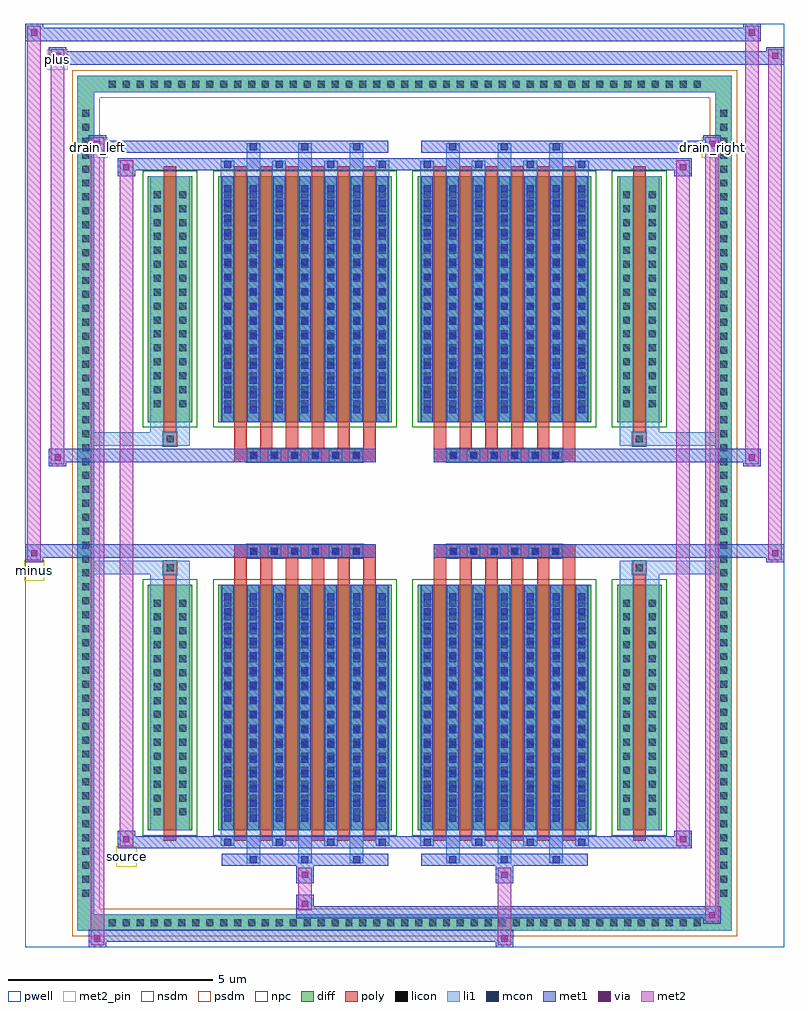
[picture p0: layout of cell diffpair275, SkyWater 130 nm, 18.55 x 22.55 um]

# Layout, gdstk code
import gdstk
lib = gdstk.Library(unit=1e-6, precision=5e-09)
def R(c, l, rs):  # rectangles x0, y0, x1, y1
    for r in rs: c.add(gdstk.rectangle(r[:2], r[2:], *l))
def A(c, l, x, y, w, h, nx, ny, dx, dy):  # array of equal rectangles
    R(c, l, [(x+i*dx, y+j*dy, x+i*dx+w, y+j*dy+h) for i in range(nx) for j in range(ny)])
def P(c, l, *ps):  # polygons
    for p in ps: c.add(gdstk.Polygon(p, *l))
pwell = (64, 44)
diff = (65, 20)
poly = (66, 20)
licon = (66, 44)
li1 = (67, 20)
mcon = (67, 44)
met1 = (68, 20)
via = (68, 44)
met2_pin = (69, 16)
met2 = (69, 20)
nsdm = (93, 44)
psdm = (94, 20)
npc = (95, 20)

diffpair275 = lib.new_cell('diffpair275')
R(diffpair275, pwell, [(-9.26,-10.84,9.26,11.71), (-6.58,-9.03,-0.01,-0.805), (0.01,-9.03,6.58,-0.805), (-6.58,0.805,-0.01,9.03), (0.01,0.805,6.58,9.03)])
A(diffpair275, diff, -7.345, -10.44, 0.41, 0.41, 43, 2, 0.34, 20.47)
A(diffpair275, diff, -7.99, -9.725, 0.41, 0.41, 1, 57, 0, 0.34)
A(diffpair275, diff, 7.58, -9.725, 0.41, 0.41, 1, 57, 0, 0.34)
R(diffpair275, diff, [(-7.345,-10.44,7.345,-10.03), (-7.99,-9.725,-7.58,9.725), (7.58,-9.725,7.99,9.725), (-6.27,-7.985,-5.19,-1.985), (-4.55,-7.985,-0.32,-1.985), (0.32,-7.985,4.55,-1.985), (5.19,-7.985,6.27,-1.985), (-6.27,1.985,-5.19,7.985), (-4.55,1.985,-0.32,7.985), (0.32,1.985,4.55,7.985), (5.19,1.985,6.27,7.985), (-7.345,10.03,7.345,10.44)])
P(diffpair275, diff, [(7.99,10.44),(-7.99,10.44),(-7.99,-10.03),(-7.58,-10.03),(-7.58,10.03),(7.58,10.03),(7.58,-10.03),(-7.58,-10.03),(-7.99,-10.03),(-7.99,-10.44),(7.99,-10.44)])
A(diffpair275, poly, -4.16, -8.235, 0.3, 6.5, 6, 2, 0.63, 9.97)
A(diffpair275, poly, 0.71, -8.235, 0.3, 6.5, 6, 2, 0.63, 9.97)
A(diffpair275, poly, -4.16, -1.735, 0.3, 0.4, 6, 2, 0.63, 3.07)
A(diffpair275, poly, 0.71, -1.735, 0.3, 0.4, 6, 2, 0.63, 3.07)
A(diffpair275, poly, -3.85, -1.335, 0.33, 0.33, 6, 2, 0.5, 2.34)
A(diffpair275, poly, 1.02, -1.335, 0.33, 0.33, 6, 2, 0.5, 2.34)
R(diffpair275, poly, [(-5.88,-8.235,-5.58,-1.735), (5.58,-8.235,5.88,-1.735), (-5.895,-1.735,-5.565,-1.405), (-5.895,-1.735,-5.565,-1.405), (5.565,-1.735,5.895,-1.405), (5.565,-1.735,5.895,-1.405), (-4.16,-1.335,-0.71,-1.005), (0.71,-1.335,4.16,-1.005), (-4.16,1.005,-0.71,1.335), (0.71,1.005,4.16,1.335), (-5.895,1.405,-5.565,1.735), (-5.895,1.405,-5.565,1.735), (5.565,1.405,5.895,1.735), (5.565,1.405,5.895,1.735), (-5.88,1.735,-5.58,8.235), (5.58,1.735,5.88,8.235)])
A(diffpair275, licon, -7.225, -10.32, 0.17, 0.17, 43, 2, 0.34, 20.47)
A(diffpair275, licon, -7.87, -9.605, 0.17, 0.17, 1, 57, 0, 0.34)
A(diffpair275, licon, 7.7, -9.605, 0.17, 0.17, 1, 57, 0, 0.34)
A(diffpair275, licon, -6.13, -7.62, 0.17, 0.17, 1, 16, 0, 0.34)
A(diffpair275, licon, -5.5, -7.62, 0.17, 0.17, 1, 16, 0, 0.34)
A(diffpair275, licon, -4.41, -7.62, 0.17, 0.17, 7, 16, 0.63, 0.34)
A(diffpair275, licon, 0.46, -7.62, 0.17, 0.17, 7, 16, 0.63, 0.34)
A(diffpair275, licon, 5.33, -7.62, 0.17, 0.17, 1, 16, 0, 0.34)
A(diffpair275, licon, 5.96, -7.62, 0.17, 0.17, 1, 16, 0, 0.34)
A(diffpair275, licon, -3.77, -1.255, 0.17, 0.17, 6, 2, 0.5, 2.34)
A(diffpair275, licon, 1.1, -1.255, 0.17, 0.17, 6, 2, 0.5, 2.34)
A(diffpair275, licon, -6.13, 2.35, 0.17, 0.17, 1, 16, 0, 0.34)
A(diffpair275, licon, -5.5, 2.35, 0.17, 0.17, 1, 16, 0, 0.34)
A(diffpair275, licon, -4.41, 2.35, 0.17, 0.17, 7, 16, 0.63, 0.34)
A(diffpair275, licon, 0.46, 2.35, 0.17, 0.17, 7, 16, 0.63, 0.34)
A(diffpair275, licon, 5.33, 2.35, 0.17, 0.17, 1, 16, 0, 0.34)
A(diffpair275, licon, 5.96, 2.35, 0.17, 0.17, 1, 16, 0, 0.34)
R(diffpair275, licon, [(-5.815,-1.655,-5.645,-1.485), (5.645,-1.655,5.815,-1.485), (-5.815,1.485,-5.645,1.655), (5.645,1.485,5.815,1.655)])
A(diffpair275, li1, -7.305, -10.4, 0.33, 0.33, 43, 2, 0.34, 20.47)
A(diffpair275, li1, -7.95, -9.685, 0.33, 0.33, 1, 57, 0, 0.34)
A(diffpair275, li1, 7.62, -9.685, 0.33, 0.33, 1, 57, 0, 0.34)
A(diffpair275, li1, -3.86, -8.79, 0.33, 0.805, 3, 2, 1.26, 16.775)
A(diffpair275, li1, -3.78, -8.79, 0.17, 0.17, 3, 2, 1.26, 17.41)
A(diffpair275, li1, 1.01, -8.79, 0.33, 0.805, 3, 2, 1.26, 16.775)
A(diffpair275, li1, 1.09, -8.79, 0.17, 0.17, 3, 2, 1.26, 17.41)
A(diffpair275, li1, -4.49, -8.36, 0.33, 0.375, 4, 2, 1.26, 16.345)
A(diffpair275, li1, -4.41, -8.36, 0.17, 0.17, 4, 2, 1.26, 16.55)
A(diffpair275, li1, 0.38, -8.36, 0.33, 0.375, 4, 2, 1.26, 16.345)
A(diffpair275, li1, 0.46, -8.36, 0.17, 0.17, 4, 2, 1.26, 16.55)
A(diffpair275, li1, -4.49, -7.985, 0.33, 6, 7, 2, 0.63, 9.97)
A(diffpair275, li1, 0.38, -7.985, 0.33, 6, 7, 2, 0.63, 9.97)
A(diffpair275, li1, -4.41, -7.77, 0.17, 0.17, 7, 16, 0.63, 0.36)
A(diffpair275, li1, -4.41, -7.77, 0.17, 5.57, 7, 2, 0.63, 9.97)
A(diffpair275, li1, 0.46, -7.77, 0.17, 0.17, 7, 16, 0.63, 0.36)
A(diffpair275, li1, 0.46, -7.77, 0.17, 5.57, 7, 2, 0.63, 9.97)
A(diffpair275, li1, -6.21, -7.7, 0.33, 0.33, 1, 16, 0, 0.34)
A(diffpair275, li1, -5.58, -7.7, 0.33, 0.33, 1, 16, 0, 0.34)
A(diffpair275, li1, -4.49, -7.7, 0.33, 0.33, 7, 16, 0.63, 0.34)
A(diffpair275, li1, 0.38, -7.7, 0.33, 0.33, 7, 16, 0.63, 0.34)
A(diffpair275, li1, 5.25, -7.7, 0.33, 0.33, 1, 16, 0, 0.34)
A(diffpair275, li1, 5.88, -7.7, 0.33, 0.33, 1, 16, 0, 0.34)
A(diffpair275, li1, -3.85, -1.335, 0.33, 0.33, 6, 2, 0.5, 2.34)
A(diffpair275, li1, 1.02, -1.335, 0.33, 0.33, 6, 2, 0.5, 2.34)
A(diffpair275, li1, -4.41, 2.2, 0.17, 0.17, 7, 16, 0.63, 0.36)
A(diffpair275, li1, 0.46, 2.2, 0.17, 0.17, 7, 16, 0.63, 0.36)
A(diffpair275, li1, -6.21, 2.27, 0.33, 0.33, 1, 16, 0, 0.34)
A(diffpair275, li1, -5.58, 2.27, 0.33, 0.33, 1, 16, 0, 0.34)
A(diffpair275, li1, -4.49, 2.27, 0.33, 0.33, 7, 16, 0.63, 0.34)
A(diffpair275, li1, 0.38, 2.27, 0.33, 0.33, 7, 16, 0.63, 0.34)
A(diffpair275, li1, 5.25, 2.27, 0.33, 0.33, 1, 16, 0, 0.34)
A(diffpair275, li1, 5.88, 2.27, 0.33, 0.33, 1, 16, 0, 0.34)
R(diffpair275, li1, [(-7.99,-10.44,-7.58,-10.03), (-7.99,-10.44,-7.58,-10.03), (-7.58,-10.44,7.58,-10.03), (7.58,-10.44,7.99,-10.03), (7.58,-10.44,7.99,-10.03), (-7.99,-10.03,-7.58,10.03), (7.58,-10.03,7.99,10.03), (-6.21,-7.985,-5.88,-1.985), (-5.58,-7.985,-5.25,-1.985), (5.25,-7.985,5.58,-1.985), (5.88,-7.985,6.21,-1.985), (-6.21,-1.985,-5.88,-1.405), (-5.58,-1.985,-5.25,-1.405), (5.25,-1.985,5.58,-1.405), (5.88,-1.985,6.21,-1.405), (-7.99,-1.735,-5.895,-1.405), (-6.21,-1.735,-5.895,-1.405), (-5.895,-1.735,-5.565,-1.405), (-5.565,-1.735,-5.25,-1.405), (5.25,-1.735,5.565,-1.405), (5.565,-1.735,5.895,-1.405), (5.565,-1.735,7.99,-1.405), (5.895,-1.735,6.21,-1.405), (-7.99,1.405,-5.895,1.735), (-6.21,1.405,-5.895,1.735), (-6.21,1.405,-5.88,1.985), (-5.895,1.405,-5.565,1.735), (-5.58,1.405,-5.25,1.985), (-5.565,1.405,-5.25,1.735), (5.25,1.405,5.565,1.735), (5.25,1.405,5.58,1.985), (5.565,1.405,5.895,1.735), (5.565,1.405,7.99,1.735), (5.88,1.405,6.21,1.985), (5.895,1.405,6.21,1.735), (-6.21,1.985,-5.88,7.985), (-5.58,1.985,-5.25,7.985), (5.25,1.985,5.58,7.985), (5.88,1.985,6.21,7.985), (-7.99,10.03,-7.58,10.44), (-7.99,10.03,-7.58,10.44), (-7.58,10.03,7.58,10.44), (7.58,10.03,7.99,10.44), (7.58,10.03,7.99,10.44)])
A(diffpair275, mcon, -3.78, -8.79, 0.17, 0.17, 3, 2, 1.26, 17.41)
A(diffpair275, mcon, 1.09, -8.79, 0.17, 0.17, 3, 2, 1.26, 17.41)
A(diffpair275, mcon, -4.41, -8.36, 0.17, 0.17, 4, 2, 1.26, 16.55)
A(diffpair275, mcon, 0.46, -8.36, 0.17, 0.17, 4, 2, 1.26, 16.55)
A(diffpair275, mcon, -4.41, -7.77, 0.17, 0.17, 7, 16, 0.63, 0.36)
A(diffpair275, mcon, 0.46, -7.77, 0.17, 0.17, 7, 16, 0.63, 0.36)
A(diffpair275, mcon, -3.77, -1.255, 0.17, 0.17, 6, 2, 0.5, 2.34)
A(diffpair275, mcon, 1.1, -1.255, 0.17, 0.17, 6, 2, 0.5, 2.34)
A(diffpair275, mcon, -4.41, 2.2, 0.17, 0.17, 7, 16, 0.63, 0.36)
A(diffpair275, mcon, 0.46, 2.2, 0.17, 0.17, 7, 16, 0.63, 0.36)
A(diffpair275, met1, -3.84, -8.85, 0.29, 0.29, 3, 2, 1.26, 17.41)
A(diffpair275, met1, 1.03, -8.85, 0.29, 0.29, 3, 2, 1.26, 17.41)
A(diffpair275, met1, -4.47, -8.42, 0.29, 0.29, 4, 2, 1.26, 16.55)
A(diffpair275, met1, 0.4, -8.42, 0.29, 0.29, 4, 2, 1.26, 16.55)
A(diffpair275, met1, -4.47, -7.985, 0.29, 6, 7, 2, 0.63, 9.97)
A(diffpair275, met1, 0.4, -7.985, 0.29, 6, 7, 2, 0.63, 9.97)
A(diffpair275, met1, -4.47, -7.83, 0.29, 0.29, 7, 16, 0.63, 0.36)
A(diffpair275, met1, 0.4, -7.83, 0.29, 0.29, 7, 16, 0.63, 0.36)
A(diffpair275, met1, -3.83, -1.315, 0.29, 0.29, 6, 2, 0.5, 2.34)
A(diffpair275, met1, 1.04, -1.315, 0.29, 0.29, 6, 2, 0.5, 2.34)
A(diffpair275, met1, -4.47, 2.14, 0.29, 0.29, 7, 16, 0.63, 0.36)
A(diffpair275, met1, 0.4, 2.14, 0.29, 0.29, 7, 16, 0.63, 0.36)
R(diffpair275, met1, [(-7.72,-10.84,-7.29,-10.41), (2.22,-10.84,2.65,-10.41), (-7.72,-10.7,2.65,-10.41), (7.29,-10.27,7.72,-9.84), (-2.65,-10.13,7.72,-9.84), (-2.65,-9.99,-2.22,-9.56), (-2.65,-9.28,-2.22,-8.85), (2.22,-9.28,2.65,-8.85), (-4.47,-8.85,-0.4,-8.56), (0.4,-8.85,4.47,-8.56), (-7.01,-8.42,-6.58,-7.99), (-7.01,-8.42,-4.47,-8.13), (-4.47,-8.42,-0.4,-8.13), (-0.4,-8.42,0.4,-8.13), (0.4,-8.42,4.47,-8.13), (4.47,-8.42,7.01,-8.13), (6.58,-8.42,7.01,-7.99), (-9.26,-1.435,-8.83,-1.005), (8.83,-1.435,9.26,-1.005), (-9.26,-1.335,-0.71,-1.005), (-4.16,-1.335,-0.71,-1.005), (0.71,-1.335,4.16,-1.005), (0.71,-1.335,9.26,-1.005), (-8.69,0.905,-8.26,1.335), (8.26,0.905,8.69,1.335), (-8.69,1.005,-4.16,1.335), (-4.16,1.005,-0.71,1.335), (0.71,1.005,4.16,1.335), (4.16,1.005,8.69,1.335), (-7.01,7.99,-6.58,8.42), (6.58,7.99,7.01,8.42), (-7.01,8.13,-4.47,8.42), (-4.47,8.13,-0.4,8.42), (-0.4,8.13,0.4,8.42), (0.4,8.13,4.47,8.42), (4.47,8.13,7.01,8.42), (-7.72,8.56,-7.29,8.99), (-7.72,8.56,-4.47,8.85), (-4.47,8.56,-0.4,8.85), (0.4,8.56,4.47,8.85), (4.47,8.56,7.72,8.85), (7.29,8.56,7.72,8.99), (-8.69,10.71,-8.26,11.14), (-8.69,10.71,-6.58,11.04), (-6.58,10.71,6.58,11.04), (6.58,10.71,9.26,11.04), (8.83,10.71,9.26,11.14), (-9.26,11.28,-8.83,11.71), (-9.26,11.28,-6.58,11.61), (-6.58,11.28,6.58,11.61), (6.58,11.28,8.69,11.61), (8.26,11.28,8.69,11.71)])
R(diffpair275, via, [(-7.58,-10.7,-7.43,-10.55), (2.36,-10.7,2.51,-10.55), (7.43,-10.13,7.58,-9.98), (-2.51,-9.85,-2.36,-9.7), (-2.51,-9.14,-2.36,-8.99), (2.36,-9.14,2.51,-8.99), (-6.87,-8.28,-6.72,-8.13), (6.72,-8.28,6.87,-8.13), (-9.12,-1.295,-8.97,-1.145), (8.97,-1.295,9.12,-1.145), (-8.55,1.045,-8.4,1.195), (8.4,1.045,8.55,1.195), (-6.87,8.13,-6.72,8.28), (6.72,8.13,6.87,8.28), (-7.58,8.7,-7.43,8.85), (7.43,8.7,7.58,8.85), (-8.55,10.85,-8.4,11), (8.97,10.85,9.12,11), (-9.12,11.42,-8.97,11.57), (8.4,11.42,8.55,11.57)])
R(diffpair275, met2_pin, [(-7.045,-8.87,-6.545,-8.37), (-9.295,-1.885,-8.795,-1.385), (-7.755,8.44,-7.255,8.94), (7.255,8.44,7.755,8.94), (-8.725,10.59,-8.225,11.09)])
R(diffpair275, met2, [(-7.67,-10.79,-7.34,-10.46), (-7.67,-10.79,-7.34,8.94), (2.27,-10.79,2.6,-10.46), (2.27,-10.46,2.6,-9.23), (7.34,-10.22,7.67,-9.89), (7.34,-10.22,7.67,8.94), (-2.6,-9.94,-2.27,-9.61), (-2.6,-9.61,-2.27,-9.23), (-2.6,-9.23,-2.27,-8.9), (2.27,-9.23,2.6,-8.9), (-6.96,-8.37,-6.63,-8.04), (-6.96,-8.37,-6.63,8.37), (6.63,-8.37,6.96,-8.04), (6.63,-8.37,6.96,8.37), (-9.21,-1.385,-8.88,-1.055), (-9.21,-1.385,-8.88,11.66), (8.88,-1.385,9.21,-1.055), (8.88,-1.385,9.21,11.09), (-8.64,0.955,-8.31,1.285), (-8.64,0.955,-8.31,11.09), (8.31,0.955,8.64,1.285), (8.31,0.955,8.64,11.66), (-6.96,8.04,-6.63,8.37), (6.63,8.04,6.96,8.37), (-7.67,8.61,-7.34,8.94), (7.34,8.61,7.67,8.94), (-8.64,10.76,-8.31,11.09), (8.88,10.76,9.21,11.09), (-9.21,11.33,-8.88,11.66), (8.31,11.33,8.64,11.66)])
P(diffpair275, met2, [(9.21,-1.385),(9.21,-1.385),(9.21,-1.055),(9.21,-1.055)],
  [(9.21,10.76),(9.21,10.76),(9.21,11.09),(9.21,11.09)],
  [(-8.88,-1.385),(-8.88,-1.385),(-8.88,-1.055),(-8.88,-1.055)],
  [(-8.88,11.33),(-8.88,11.33),(-8.88,11.66),(-8.88,11.66)],
  [(8.64,0.955),(8.64,0.955),(8.64,1.285),(8.64,1.285)],
  [(8.64,11.33),(8.64,11.33),(8.64,11.66),(8.64,11.66)],
  [(-8.31,0.955),(-8.31,0.955),(-8.31,1.285),(-8.31,1.285)],
  [(-8.31,10.76),(-8.31,10.76),(-8.31,11.09),(-8.31,11.09)],
  [(-7.34,-10.79),(-7.34,-10.79),(-7.34,-10.46),(-7.34,-10.46)],
  [(-7.34,8.61),(-7.34,8.61),(-7.34,8.94),(-7.34,8.94)],
  [(7.67,-10.22),(7.67,-10.22),(7.67,-9.89),(7.67,-9.89)],
  [(7.67,8.61),(7.67,8.61),(7.67,8.94),(7.67,8.94)],
  [(-6.63,-8.37),(-6.63,-8.37),(-6.63,-8.04),(-6.63,-8.04)],
  [(-6.63,8.04),(-6.63,8.04),(-6.63,8.37),(-6.63,8.37)],
  [(6.96,-8.37),(6.96,-8.37),(6.96,-8.04),(6.96,-8.04)],
  [(6.96,8.04),(6.96,8.04),(6.96,8.37),(6.96,8.37)])
R(diffpair275, nsdm, [(-6.4,-8.115,-5.06,-1.855), (-4.68,-8.115,-0.19,-1.855), (0.19,-8.115,4.68,-1.855), (5.06,-8.115,6.4,-1.855), (-6.4,1.855,-5.06,8.115), (-4.68,1.855,-0.19,8.115), (0.19,1.855,4.68,8.115), (5.06,1.855,6.4,8.115)])
P(diffpair275, psdm, [(8.12,10.57),(-8.12,10.57),(-8.12,-9.9),(-7.45,-9.9),(-7.45,9.9),(7.45,9.9),(7.45,-9.9),(-7.45,-9.9),(-8.12,-9.9),(-8.12,-10.57),(8.12,-10.57)])
A(diffpair275, npc, -3.87, -1.355, 0.37, 0.37, 6, 2, 0.5, 2.34)
A(diffpair275, npc, 1, -1.355, 0.37, 0.37, 6, 2, 0.5, 2.34)
R(diffpair275, npc, [(-5.915,-1.755,-5.545,-1.385), (5.545,-1.755,5.915,-1.385), (-3.87,-1.355,-3,-0.985), (-3.87,-1.355,-3,-0.985), (-3.37,-1.355,-2.5,-0.985), (-3.37,-1.355,-2.5,-0.985), (-2.87,-1.355,-2,-0.985), (-2.87,-1.355,-2,-0.985), (-2.37,-1.355,-1.5,-0.985), (-2.37,-1.355,-1.5,-0.985), (-1.87,-1.355,-1,-0.985), (-1.87,-1.355,-1,-0.985), (1,-1.355,1.87,-0.985), (1,-1.355,1.87,-0.985), (1.5,-1.355,2.37,-0.985), (1.5,-1.355,2.37,-0.985), (2,-1.355,2.87,-0.985), (2,-1.355,2.87,-0.985), (2.5,-1.355,3.37,-0.985), (2.5,-1.355,3.37,-0.985), (3,-1.355,3.87,-0.985), (3,-1.355,3.87,-0.985), (-3.87,0.985,-3,1.355), (-3.87,0.985,-3,1.355), (-3.37,0.985,-2.5,1.355), (-3.37,0.985,-2.5,1.355), (-2.87,0.985,-2,1.355), (-2.87,0.985,-2,1.355), (-2.37,0.985,-1.5,1.355), (-2.37,0.985,-1.5,1.355), (-1.87,0.985,-1,1.355), (-1.87,0.985,-1,1.355), (1,0.985,1.87,1.355), (1,0.985,1.87,1.355), (1.5,0.985,2.37,1.355), (1.5,0.985,2.37,1.355), (2,0.985,2.87,1.355), (2,0.985,2.87,1.355), (2.5,0.985,3.37,1.355), (2.5,0.985,3.37,1.355), (3,0.985,3.87,1.355), (3,0.985,3.87,1.355), (-5.915,1.385,-5.545,1.755), (5.545,1.385,5.915,1.755)])
diffpair275.add(gdstk.Label('minus', (-9.045,-1.635), layer=69, texttype=5))
diffpair275.add(gdstk.Label('drain_right', (7.505,8.69), layer=69, texttype=5))
diffpair275.add(gdstk.Label('drain_left', (-7.505,8.69), layer=69, texttype=5))
diffpair275.add(gdstk.Label('source', (-6.795,-8.62), layer=69, texttype=5))
diffpair275.add(gdstk.Label('plus', (-8.475,10.84), layer=69, texttype=5))

lib.write_gds('diffpair275.gds')
